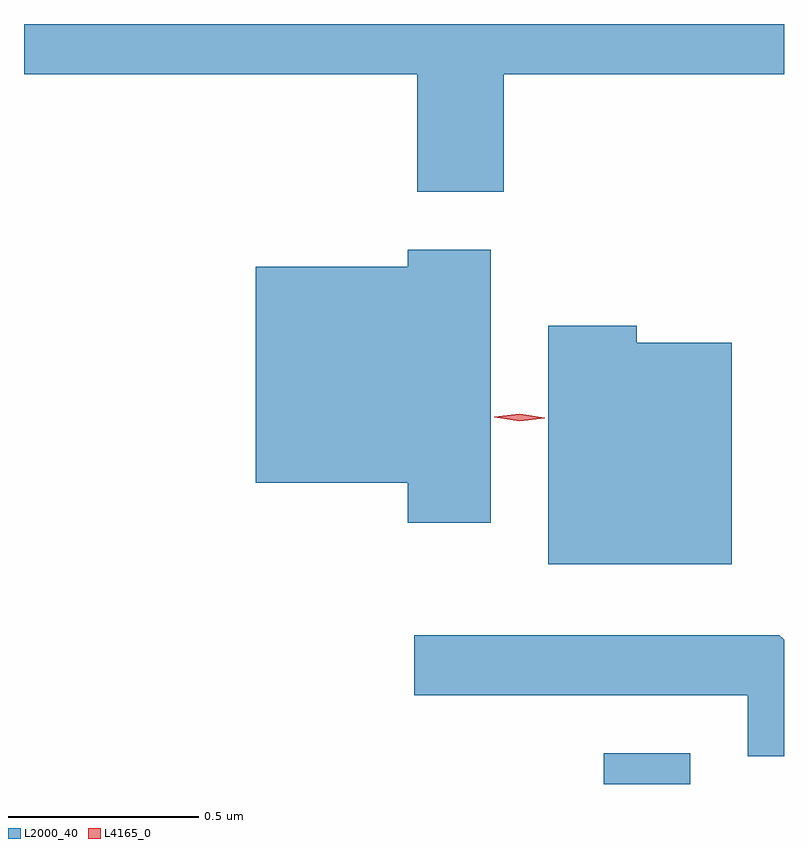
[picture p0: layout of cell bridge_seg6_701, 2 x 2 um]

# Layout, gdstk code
import gdstk
lib = gdstk.Library(unit=1e-6, precision=1e-09)
def R(c, l, rs):  # rectangles x0, y0, x1, y1
    for r in rs: c.add(gdstk.rectangle(r[:2], r[2:], *l))
def P(c, l, *ps):  # polygons
    for p in ps: c.add(gdstk.Polygon(p, *l))
L2000_40 = (2000, 40)
L4165_0 = (4165, 0)

bridge_seg6_701 = lib.new_cell('bridge_seg6_701')
R(bridge_seg6_701, L2000_40, [(257.251,1628.088,257.479,1628.169)])
P(bridge_seg6_701, L2000_40, [(256.989,1629.956),(257.726,1629.956),(257.726,1630.088),(255.726,1630.088),(255.726,1629.956),(256.761,1629.956),(256.761,1629.646),(256.989,1629.646)],
  [(256.954,1629.494),(256.736,1629.494),(256.736,1629.449),(256.336,1629.449),(256.336,1628.881),(256.736,1628.881),(256.736,1628.776),(256.954,1628.776)],
  [(257.589,1629.249),(257.339,1629.249),(257.339,1629.294),(257.106,1629.294),(257.106,1628.666),(257.589,1628.666)],
  [(257.726,1628.467),(257.714,1628.479),(256.753,1628.479),(256.753,1628.321),(257.631,1628.321),(257.631,1628.161),(257.726,1628.161)])
P(bridge_seg6_701, L4165_0, [(257.03,1629.043),(256.964,1629.053),(256.963,1629.053),(256.964,1629.054),(257.03,1629.062),(257.096,1629.052),(257.096,1629.052),(257.096,1629.051)])

lib.write_gds('bridge_seg6_701.gds')
